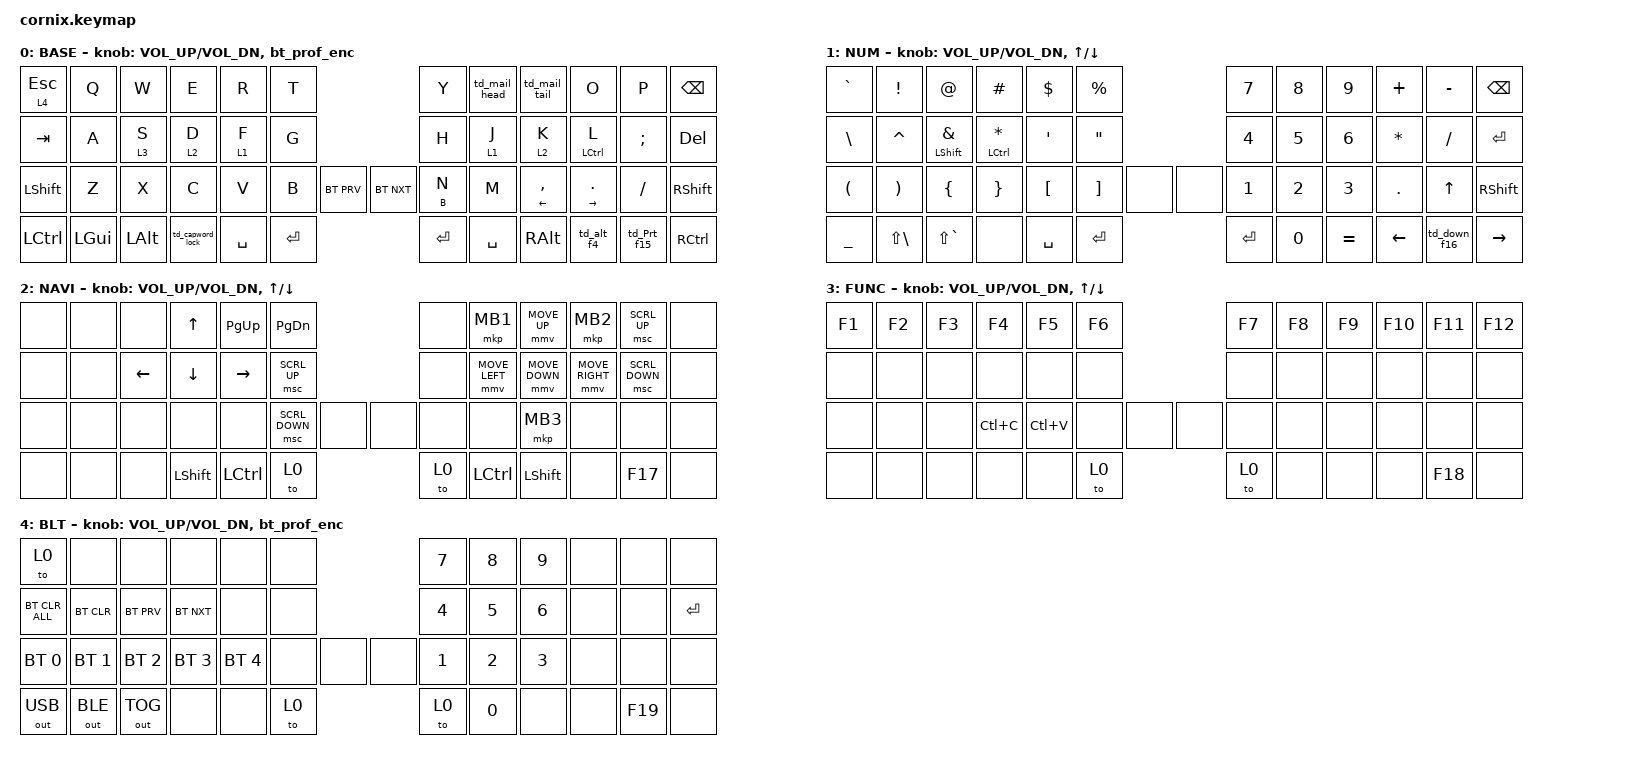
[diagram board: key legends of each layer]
/*
 * Copyright (c) 2020 The ZMK Contributors
 *
 * SPDX-License-Identifier: MIT
 */

#include "zmk-helpers/helper.h"
#include "includes/cornix54.h"

// Layer Mapping

#define BASE 0
#define NUM  1
#define NAVI 2
#define FUNC 3
#define BLT  4

// Typing Sensitivity

#define HM_TAPPING_TERM 250
#define HM_PRIOR_IDLE 125

// Group key positions in header files

#define KEYS_L LT0 LT1 LT2 LT3 LT4 LT5 LM0 LM1 LM2 LM3 LM4 LM5 LB0 LB1 LB2 LB3 LB4 LB5
#define KEYS_R RT0 RT1 RT2 RT3 RT4 RT5 RM0 RM1 RM2 RM3 RM4 RM5 RB0 RB1 RB2 RB3 RB4 RB5
#define KEYS_T LH1 LH0 RH0 RH1
#define ZMK_POINTING_DEFAULT_SCRL_VAL 15
#define ZMK_POINTING_DEFAULT_MOVE_VAL 800

#include <behaviors.dtsi>
#include <dt-bindings/zmk/bt.h>
#include <dt-bindings/zmk/keys.h>
#include <dt-bindings/zmk/outputs.h>
#include <dt-bindings/zmk/pointing.h>

/ {
    // Activate ADJUST layer by pressing raise and lower

    behaviors {
        hm_l: homerow_mods_left {
            compatible = "zmk,behavior-hold-tap";
            #binding-cells = <2>;
            bindings = <&kp>, <&kp>;

            flavor = "balanced";
            tapping-term-ms = <250>;
            quick-tap-ms = <175>;                // repeat on tap-into-hold
            require-prior-idle-ms = <150>;
            hold-trigger-key-positions = <KEYS_R KEYS_T>;
            hold-trigger-on-release;
        };

        hm_r: homerow_mods_right {
            compatible = "zmk,behavior-hold-tap";
            #binding-cells = <2>;
            bindings = <&kp>, <&kp>;

            flavor = "balanced";
            tapping-term-ms = <200>;
            quick-tap-ms = <175>;
            require-prior-idle-ms = <150>;
            hold-trigger-key-positions = <KEYS_L KEYS_T>;
            hold-trigger-on-release;
        };

        ht_b_n: hold_tap_b_n {
            compatible = "zmk,behavior-hold-tap";
            #binding-cells = <2>;
            flavor = "balanced";
            tapping-term-ms = <200>;
            quick-tap-ms = <175>;
            bindings = <&kp>, <&kp>;

            require-prior-idle-ms = <150>;
        };

        th: tap_key_hold_to {
            compatible = "zmk,behavior-hold-tap";
            #binding-cells = <2>;
            flavor = "tap-preferred"; // key first
            tapping-term-ms = <300>;  // <= 250ms press to layer
            bindings = <&to>, <&kp>;

            quick-tap-ms = <175>;
            require-prior-idle-ms = <150>;
        };

        lt: layer_tap {
            compatible = "zmk,behavior-hold-tap";
            #binding-cells = <2>;
            bindings = <&mo>, <&kp>;

            flavor = "tap-preferred";
            tapping-term-ms = <300>;
            quick-tap-ms = <200>;
            require-prior-idle-ms = <150>;
        };

        td_capword_lock: td_capword_lock {
            compatible = "zmk,behavior-tap-dance";
            label = "TD_CAPWORD_LOCK";
            #binding-cells = <0>;
            bindings = <&caps_word>, <&kp CAPS>;
        };

        td_mail_head: td_mail_head {
            compatible = "zmk,behavior-tap-dance";
            label = "TD_MAIL_HEAD";
            #binding-cells = <0>;
            bindings = <&kp U>, <&m_mail_head>;
        };

        td_mail_tail: td_mail_tail {
            compatible = "zmk,behavior-tap-dance";
            label = "TD_MAIL_TAIL";
            #binding-cells = <0>;
            bindings = <&kp I>, <&m_mail_tail>;
        };

        td_alt_f4: td_alt_f4 {
            compatible = "zmk,behavior-tap-dance";
            label = "TD_ALT_F4";
            #binding-cells = <0>;
            bindings = <&kp F5>, <&kp LA(F4)>;

            tapping-term-ms = <250>;
        };

        bt_prof_enc: bt_prof_enc {
            compatible = "zmk,behavior-sensor-rotate";
            #sensor-binding-cells = <0>;
            bindings = <&bt BT_NXT>, <&bt BT_PRV>;

            tap-ms = <30>;
        };

        td_Prt_f15: td_Prt_f15 {
            compatible = "zmk,behavior-tap-dance";
            label = "TD_PRT_F15";
            #binding-cells = <0>;
            bindings = <&kp PSCRN>, <&kp F15>;
        };

        td_down_f16: td_down_f16 {
            compatible = "zmk,behavior-tap-dance";
            label = "TD_DOWN_F16";
            #binding-cells = <0>;
            bindings = <&kp DOWN>, <&kp F16>;
        };

        hm_r_arrow: hm_r_arrow {
            compatible = "zmk,behavior-hold-tap";
            #binding-cells = <2>;
            bindings = <&kp>, <&kp>;

            flavor = "tap-preferred";
            tapping-term-ms = <300>;
            quick-tap-ms = <250>;
            require-prior-idle-ms = <200>;
            hold-trigger-key-positions = <KEYS_L KEYS_T>;
            hold-trigger-on-release;
            label = "HM_R_ARROW";
        };
    };

    macros {
        m_mail_head: m_mail_head {
            compatible = "zmk,behavior-macro";
            #binding-cells = <0>;
            wait-ms = <15>; // 안정성을 위해 15ms로 살짝 상향
            tap-ms = <15>;
            bindings = <&kp W &kp J &kp S &kp W &kp K &kp V &kp U &kp S &kp D &kp M &kp L &kp W &kp P &kp D &kp J &kp R &kp O &kp Q &kp K &kp F &kp N2 &kp X &kp L &kp A>;
            label = "M_MAIL_HEAD";
        };

        m_mail_tail: m_mail_tail {
            compatible = "zmk,behavior-macro";
            #binding-cells = <0>;
            wait-ms = <15>;
            tap-ms = <15>;
            bindings = <&kp R &kp K &kp A &kp T &kp K &kp G &kp K &kp Q &kp S &kp L &kp E &kp K &kp DOT>;
            label = "M_MAIL_TAIL";
        };
    };

    combos {
        compatible = "zmk,combos";

        ralt_combo {
            bindings = <&kp LG(L)>;
            key-positions = <48 47>;
            layers = <0>;
            timeout-ms = <50>;
            require-prior-idle-ms = <120>;
        };
    };

    keymap {
        compatible = "zmk,keymap";

        default_layer {
            display-name = "BASE";
            bindings = <
&th 4 ESC  &kp Q     &kp W     &kp E             &kp R      &kp T                              &kp Y        &td_mail_head  &td_mail_tail           &kp O                  &kp P        &kp BSPC
&kp TAB    &kp A     &th 3 S   &lt 2 D           &lt 1 F    &kp G                              &kp H        &lt 1 J        &lt 2 K                 &hm_r LCTRL L          &kp SEMI     &kp DEL
&kp LSHFT  &kp Z     &kp X     &kp C             &kp V      &kp B      &bt BT_PRV  &bt BT_NXT  &ht_b_n B N  &kp M          &hm_r_arrow LEFT COMMA  &hm_r_arrow RIGHT DOT  &kp FSLH     &kp RSHFT
&kp LCTRL  &kp LGUI  &kp LALT  &td_capword_lock  &kp SPACE  &kp ENTER                          &kp ENTER    &kp SPACE      &kp RALT                &td_alt_f4             &td_Prt_f15  &kp RCTRL
            >;

            sensor-bindings = <&inc_dec_kp C_VOL_UP C_VOL_DN>, <&bt_prof_enc>;
        };

        NUM_layer {
            display-name = "NUM";
            bindings = <
&kp GRAVE  &kp EXCL      &kp AT            &kp HASH           &kp DLLR   &kp PRCNT                &kp N7     &kp N8  &kp N9     &kp PLUS   &kp MINUS     &kp BSPC
&kp BSLH   &kp CARET     &hm_l LSHFT AMPS  &hm_l LCTRL ASTRK  &kp SQT    &kp DQT                  &kp N4     &kp N5  &kp N6     &kp ASTRK  &kp SLASH     &kp ENTER
&kp LPAR   &kp RPAR      &kp LBRC          &kp RBRC           &kp LBKT   &kp RBKT   &none  &none  &kp N1     &kp N2  &kp N3     &kp DOT    &kp UP        &kp RSHFT
&kp UNDER  &kp LS(BSLH)  &kp LS(GRAVE)     &none              &kp SPACE  &kp ENTER                &kp ENTER  &kp N0  &kp EQUAL  &kp LEFT   &td_down_f16  &kp RIGHT
            >;

            sensor-bindings =
                <&inc_dec_kp C_VOL_UP C_VOL_DN>,
                <&inc_dec_kp UP DOWN>;
        };

        Navi_layer {
            display-name = "NAVI";
            bindings = <
&none  &none  &none     &kp UP     &kp PAGE_UP  &kp PAGE_DOWN                 &none  &mkp MB1        &mmv MOVE_UP    &mkp MB2         &msc SCRL_UP    &none
&none  &none  &kp LEFT  &kp DOWN   &kp RIGHT    &msc SCRL_UP                  &none  &mmv MOVE_LEFT  &mmv MOVE_DOWN  &mmv MOVE_RIGHT  &msc SCRL_DOWN  &none
&none  &none  &none     &none      &none        &msc SCRL_DOWN  &none  &none  &none  &none           &mkp MB3        &none            &none           &none
&none  &none  &none     &kp LSHFT  &kp LCTRL    &to 0                         &to 0  &kp LCTRL       &kp LSHFT       &none            &kp F17         &none
            >;

            sensor-bindings =
                <&inc_dec_kp C_VOL_UP C_VOL_DN>,
                <&inc_dec_kp UP DOWN>;
        };

        Function_layer {
            display-name = "FUNC";
            bindings = <
&kp F1  &kp F2  &kp F3  &kp F4     &kp F5     &kp F6                &kp F7  &kp F8  &kp F9  &kp F10  &kp F11  &kp F12
&none   &none   &none   &none      &none      &none                 &none   &none   &none   &none    &none    &none
&none   &none   &none   &kp LC(C)  &kp LC(V)  &none   &none  &none  &none   &none   &none   &none    &none    &none
&none   &none   &none   &none      &none      &to 0                 &to 0   &none   &none   &none    &kp F18  &none
            >;

            sensor-bindings =
                <&inc_dec_kp C_VOL_UP C_VOL_DN>,
                <&inc_dec_kp UP DOWN>;
        };

        BLT_layer {
            display-name = "BLT";
            bindings = <
&to 0           &none         &none         &none         &none         &none                &kp N7  &kp N8        &kp N9  &none  &none    &none
&bt BT_CLR_ALL  &bt BT_CLR    &bt BT_PRV    &bt BT_NXT    &none         &none                &kp N4  &kp N5        &kp N6  &none  &none    &kp ENTER
&bt BT_SEL 0    &bt BT_SEL 1  &bt BT_SEL 2  &bt BT_SEL 3  &bt BT_SEL 4  &none  &none  &none  &kp N1  &kp N2        &kp N3  &none  &none    &none
&out OUT_USB    &out OUT_BLE  &out OUT_TOG  &none         &none         &to 0                &to 0   &kp NUMBER_0  &none   &none  &kp F19  &none
            >;

            sensor-bindings = <&inc_dec_kp C_VOL_UP C_VOL_DN>, <&bt_prof_enc>;
        };
    };
};
